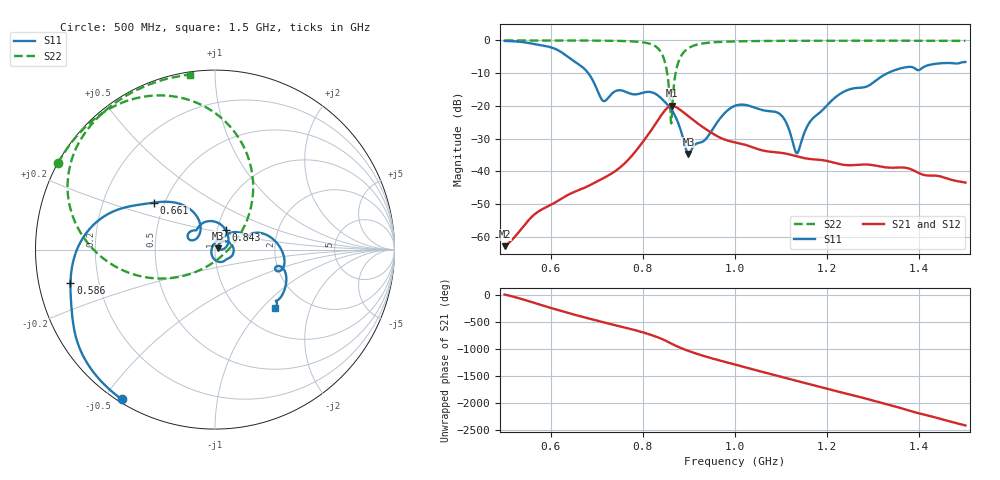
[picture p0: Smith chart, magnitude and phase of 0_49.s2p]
! TOUCHSTONE file generated by CST MICROWAVE STUDIO
! Date and time: Sat Oct 24 11:18:37 2020
! Project name: Scenario_1_Circular_Tissue_in_Line.cst
! Parameters = {L_HA=400; MT=2.54; Rad_Dielectric=30; Rad_Lower=7.3; Rad_Upper=30; a_HA=580; a_WG=246; b_HA=500; b_WG=121; c_HA=0; c_WG=187; d_feed=85; dx1=1004.36; h_feed=15; h_lower=18; h_upper=40}
! Header version: 2018
! Port assignment regex: !\s*Touchstone port\s*([0-9]+)\s*=\s*(CST MWS port|CST DS port)\s*([0-9]+|Zmin|Zmax)\s*\(\"(.*)\"\)(\s*mode\s*([0-9]+))?.*
! Touchstone port assignment:
! Touchstone port 1 = CST MWS port 1 ("")
! Touchstone port 2 = CST MWS port 2 ("")
# GHz S DB R 50
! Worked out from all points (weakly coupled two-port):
!   1003 points, 500 MHz to 1.5 GHz, reference 50 ohm
!   highest |S21| = -20.00 dB at 863 MHz (marker M1); lowest = -62.9 dB at 500 MHz (marker M2)
!   lowest |S11| = -34.7 dB at 899 MHz (marker M3), VSWR 1.04, Z = 51.7 + j0.846 ohm
!   |S11| at or under -10 dB: 681.5 MHz to 1.331 GHz (649.8 MHz wide, 64.6 % of centre)
!   |S22| runs from -25.4 to 0.0 dB; largest |S21 - S12| = 0.0015
!   S11 on the Smith chart (normalised r, x): 500 MHz: 0.01, -0.55; 586 MHz: 0.10, -0.11; 661 MHz: 0.44, +0.28; 843 MHz: 1.10, +0.24; 1.5 GHz: 1.42, -1.19
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0.5  -0.15 -122.0  -62.93 16.6  -62.89 16.7  -0.01 151.1
0.586  -1.66 -167.0  -51.30 163.1  -51.30 163.1  -0.02 145.2
0.625  -3.76 163.7  -48.26 67.1  -48.26 67.2  -0.02 142.2
0.661  -7.34 142.4  -45.79 -19.5  -45.79 -19.5  -0.04 139.0
0.667  -7.95 138.3  -45.45 -33.2  -45.45 -33.2  -0.04 138.4
0.715  -18.55 141.4  -42.09 -140.1  -42.09 -140.1  -0.08 133.2
0.746  -15.26 151.2  -39.36 154.9  -39.36 154.9  -0.14 128.5
0.791  -16.36 130.2  -32.71 56.9  -32.71 56.9  -0.43 117.6
0.834  -16.97 75.4  -24.12 -63.5  -24.16 -63.4  -2.59 88.0
0.843  -18.12 61.2  -22.29 -95.7  -22.29 -95.6  -4.62 73.8
0.853  -19.60 46.1  -20.65 -136.1  -20.68 -136.3  -10.18 49.7
0.859  -20.55 36.4  -20.11 -162.2  -20.16 -162.3  -19.42 17.1
0.863  -21.31 29.4  -20.00 -179.7  -20.05 -179.7  -22.81 -97.3
0.876  -25.00 8.4  -20.72 126.9  -20.69 126.6  -7.12 -160.3
0.899  -34.70 26.4  -23.18 48.7  -23.24 47.9  -2.36 172.2
1  -19.99 11.0  -31.18 156.7  -31.18 156.5  -0.29 140.8
1.097  -22.47 -67.0  -34.33 -63.3  -34.33 -63.3  -0.13 130.3
1.134  -34.50 168.5  -35.47 -148.4  -35.47 -148.4  -0.11 127.1
1.167  -24.13 64.4  -36.33 140.4  -36.33 140.4  -0.10 124.4
1.23  -16.18 38.9  -37.92 -0.2  -37.92 -0.2  -0.09 119.6
1.334  -9.82 11.4  -38.91 126.8  -38.92 126.7  -0.09 111.7
1.5  -6.58 -44.4  -43.47 103.5  -43.47 103.5  -0.13 98.2
